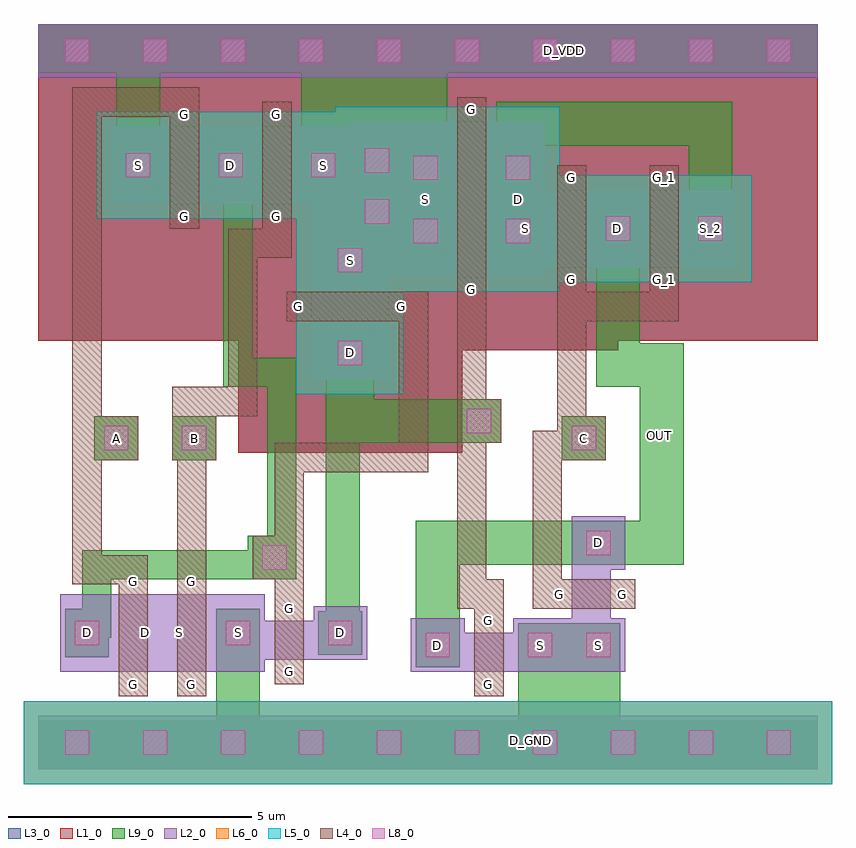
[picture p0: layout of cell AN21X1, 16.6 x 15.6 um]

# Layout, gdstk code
import gdstk
lib = gdstk.Library(unit=1e-6, precision=1e-09)
def R(c, l, rs):  # rectangles x0, y0, x1, y1
    for r in rs: c.add(gdstk.rectangle(r[:2], r[2:], *l))
def A(c, l, x, y, w, h, nx, ny, dx, dy):  # array of equal rectangles
    R(c, l, [(x+i*dx, y+j*dy, x+i*dx+w, y+j*dy+h) for i in range(nx) for j in range(ny)])
def P(c, l, *ps):  # polygons
    for p in ps: c.add(gdstk.Polygon(p, *l))
L1_0 = (1, 0)
L2_0 = (2, 0)
L3_0 = (3, 0)
L4_0 = (4, 0)
L5_0 = (5, 0)
L6_0 = (6, 0)
L8_0 = (8, 0)
L9_0 = (9, 0)

an21x1 = lib.new_cell('AN21X1')
A(an21x1, L1_0, 0, 8.8, 1.6, 6.5, 10, 1, 1.6, 0)
R(an21x1, L1_0, [(4.1,6.5,8.7,12.5), (5.9,8.6,11.9,14.8), (7.95,8.8,15.85,13.4), (0,10.1,6,14.7), (1.9,10.1,7.9,14.7)])
A(an21x1, L2_0, 0, 0, 1.6, 1.1, 10, 2, 1.6, 14.2)
A(an21x1, L2_0, 9.45, 10.3, 1.1, 1.6, 3, 1, 1.9, 0)
R(an21x1, L2_0, [(0.45,2,1.55,3.6), (1.55,2,2.35,3.6), (1.65,2,2.75,3.6), (2.35,2,3.45,3.6), (2.75,2,3.55,3.6), (3.55,2,4.65,3.6), (7.65,2,8.75,3.1), (8.75,2,9.75,2.8), (9.75,2,10.85,3.1), (10.85,2,10.95,3.1), (10.95,2,12.05,3.1), (3.55,2.25,4.65,3.35), (4.65,2.25,5.65,3.05), (5.65,2.25,6.75,3.35), (10.95,3.1,11.75,4.1), (10.95,4.1,12.05,5.2), (5.6,8,7.2,9.1), (5.6,9.1,7.2,9.9), (5.6,9.9,7.2,11), (7.4,10.1,8.5,13.3), (8.5,10.1,9.3,13.3), (9.3,10.1,10.4,13.3), (10.55,10.3,11.35,11.9), (12.45,10.3,13.25,11.9), (13.25,10.55,14.35,11.65), (1.5,11.6,2.6,13.2), (2.6,11.6,3.4,13.2), (3.4,11.6,4.5,13.2), (3.4,11.6,4.5,13.2), (4.5,11.6,5.3,13.2), (5.3,11.6,6.4,13.2)])
P(an21x1, L2_0, [(7.2,11),(7.2,10.1),(7.4,10.1),(7.4,13.3),(6.4,13.3),(6.4,11.7),(5.6,11.7),(5.6,11)])
A(an21x1, L3_0, 0, 8.8, 1.6, 6.5, 10, 1, 1.6, 0)
R(an21x1, L3_0, [(4.1,6.5,8.7,12.5), (5.9,8.6,11.9,14.8), (7.95,8.8,15.85,13.4), (0,10.1,6,14.7), (1.9,10.1,7.9,14.7)])
R(an21x1, L4_0, [(1.65,1.5,2.25,4.1), (1.65,1.5,2.25,2), (2.85,1.5,3.45,4.1), (2.85,1.5,3.45,2), (8.95,1.5,9.55,2), (8.95,1.5,9.55,3.3), (4.85,1.75,5.45,2.25), (4.85,1.75,5.45,3.55), (8.95,2.8,9.55,3.3), (4.85,3.05,5.45,3.55), (10.15,3.3,10.75,4.4), (10.45,3.3,10.95,3.9), (10.45,3.3,12.25,3.9), (11.75,3.3,12.25,3.9), (1.65,3.6,2.25,4.1), (2.85,3.6,3.45,4.1), (4.4,3.9,5.3,4.8), (2.85,4.1,3.45,6.35), (1.15,6.35,2.05,7.25), (2.75,6.35,3.65,7.25), (10.75,6.35,11.65,7.25), (8.6,6.7,9.5,7.6), (5.1,9.2,7.7,9.8), (5.1,9.2,5.6,9.8), (7.2,9.2,7.7,9.8), (10.65,9.2,13.15,9.8), (8.6,9.6,9.2,10.1), (8.6,9.6,9.2,13.8), (10.65,9.8,11.25,12.4), (10.65,9.8,11.25,10.3), (12.55,9.8,13.15,12.4), (12.55,9.8,13.15,10.3), (2.7,11.1,3.3,13.7), (2.7,11.1,3.3,11.6), (4.6,11.1,5.2,13.7), (4.6,11.1,5.2,11.6), (10.65,11.9,11.25,12.4), (12.55,11.9,13.15,12.4), (2.7,13.2,3.3,13.7), (4.6,13.2,5.2,13.7), (8.6,13.3,9.2,13.8)])
P(an21x1, L4_0, [(8.6,3.3),(9.55,3.3),(9.55,3.9),(9.2,3.9),(9.2,9.6),(8.6,9.6)],
  [(0.7,3.8),(2.25,3.8),(2.25,4.4),(1.3,4.4),(1.3,13.4),(3.3,13.4),(3.3,14),(0.7,14)],
  [(2.75,7.25),(4.5,7.25),(4.5,10.5),(5.2,10.5),(5.2,11.1),(3.9,11.1),(3.9,7.85),(2.75,7.85)],
  [(10.15,4.4),(10.75,4.4),(10.75,6.35),(11.25,6.35),(11.25,9.8),(10.65,9.8),(10.65,6.95),(10.15,6.95)],
  [(4.85,3.55),(5.45,3.55),(5.45,6.1),(8,6.1),(8,9.8),(7.4,9.8),(7.4,6.7),(4.85,6.7)])
A(an21x1, L5_0, 1.6, -0.3, 1.6, 1.7, 8, 1, 1.6, 0)
R(an21x1, L5_0, [(-0.3,-0.3,1.6,1.4), (14.4,-0.3,16.3,1.4), (5.3,7.7,7.5,11.3), (7.1,9.8,10.7,13.6), (9.15,10,14.65,12.2), (1.2,11.3,4.8,13.5), (3.1,11.3,6.7,13.5), (6.1,13.5,6.7,13.6)])
P(an21x1, L5_0, [(7.1,11.3),(7.1,13.6),(6.7,13.6),(6.7,11.4),(5.3,11.4),(5.3,11.3)])
A(an21x1, L6_0, 1.6, -0.3, 1.6, 1.7, 8, 1, 1.6, 0)
R(an21x1, L6_0, [(-0.3,-0.3,1.6,1.4), (14.4,-0.3,16.3,1.4), (5.3,7.7,7.5,11.3), (7.1,9.8,10.7,13.6), (9.15,10,14.65,12.2), (1.2,11.3,4.8,13.5), (3.1,11.3,6.7,13.5), (6.1,13.5,6.7,13.6)])
P(an21x1, L6_0, [(7.1,11.3),(7.1,13.6),(6.7,13.6),(6.7,11.4),(5.3,11.4),(5.3,11.3)])
A(an21x1, L8_0, 0.55, 0.3, 0.5, 0.5, 10, 2, 1.6, 14.2)
A(an21x1, L8_0, 1.8, 12.15, 0.5, 0.5, 3, 1, 1.9, 0)
R(an21x1, L8_0, [(7.95,2.3,8.45,2.8), (10.05,2.3,10.55,2.8), (11.25,2.3,11.75,2.8), (0.75,2.55,1.25,3.05), (3.85,2.55,4.35,3.05), (3.85,2.55,4.35,3.05), (5.95,2.55,6.45,3.05), (4.6,4.1,5.1,4.6), (11.25,4.4,11.75,4.9), (1.35,6.55,1.85,7.05), (2.95,6.55,3.45,7.05), (10.95,6.55,11.45,7.05), (8.8,6.9,9.3,7.4), (6.15,8.3,6.65,8.8), (6.15,10.2,6.65,10.7), (7.7,10.8,8.2,11.3), (9.6,10.8,10.1,11.3), (11.65,10.85,12.15,11.35), (13.55,10.85,14.05,11.35), (6.7,11.2,7.2,11.7), (7.7,12.1,8.2,12.6), (9.6,12.1,10.1,12.6), (6.7,12.25,7.2,12.75)])
A(an21x1, L9_0, 0, 0, 1.6, 1, 10, 2, 1.6, 14.3)
A(an21x1, L9_0, 1.6, 11.9, 0.9, 1, 3, 1, 1.9, 0)
R(an21x1, L9_0, [(0,0,13.2,1), (3.65,1,4.55,2.3), (9.85,1,11.95,2.1), (7.75,2.1,8.65,3), (9.85,2.1,10.75,3), (10.75,2.1,11.05,3), (11.05,2.1,11.95,3), (0.55,2.3,1.45,3.3), (3.65,2.3,4.55,3.3), (3.65,2.35,4.55,3.25), (5.75,2.35,6.65,3.25), (5.9,2.55,6.6,8.8), (4.3,3.9,4.55,4.8), (4.4,3.9,5.3,4.8), (11.05,4.2,11.95,5.1), (1.15,6.35,2.05,7.25), (1.15,6.35,2.05,7.25), (2.75,6.35,3.65,7.25), (2.75,6.35,3.65,7.25), (10.75,6.35,11.65,7.25), (10.75,6.35,11.65,7.25), (12.35,6.35,13.25,7.25), (8.6,6.7,9.5,7.6), (5.9,8.1,6.9,9), (5.9,10,6.9,10.9), (7.5,10.6,8.4,12.8), (9.4,10.6,10.3,12.8), (11.45,10.6,12.35,11.6), (13.35,10.65,14.25,11.55), (1.6,12.9,2.5,14.35), (5.4,12.9,8.4,14.35), (0,14.3,13.2,15.3)])
P(an21x1, L9_0, [(0.85,2.7),(1.5,2.7),(1.5,3.9),(4.55,3.9),(4.55,4.5),(0.9,4.5),(0.9,3.3),(0.85,3.3)],
  [(7.75,2.1),(8.65,2.1),(8.65,4.2),(11.95,4.2),(11.95,5.1),(7.75,5.1)],
  [(3.8,7.85),(4.7,7.85),(4.7,4.2),(5.3,4.2),(5.3,8.45),(4.4,8.45),(4.4,12.5),(3.8,12.5)],
  [(9.4,11.9),(10.3,11.9),(10.3,12.8),(13.35,12.8),(13.35,10.65),(14.25,10.65),(14.25,13.7),(9.4,13.7)],
  [(11.05,4.2),(13.25,4.2),(13.25,8.75),(12.35,8.75),(12.35,11.5),(11.45,11.5),(11.45,7.85),(12.35,7.85),(12.35,5.1),(11.05,5.1)],
  [(7.5,12.8),(8.4,12.8),(8.4,13),(6.3,13),(6.3,12),(5.9,12),(5.9,10.9),(6.9,10.9),(6.9,10.6),(7.5,10.6)],
  [(6,6.7),(9.5,6.7),(9.5,7.6),(6.9,7.6),(6.9,9),(6,9)])
an21x1.add(gdstk.Label('G', (10.95,10.052), layer=4, texttype=0))
an21x1.add(gdstk.Label('G', (10.95,12.152), layer=4, texttype=0))
an21x1.add(gdstk.Label('G_1', (12.85,10.052), layer=4, texttype=0))
an21x1.add(gdstk.Label('G_1', (12.85,12.152), layer=4, texttype=0))
an21x1.add(gdstk.Label('S', (9.999,11.101), layer=2, texttype=0))
an21x1.add(gdstk.Label('D', (11.899,11.101), layer=9, texttype=0))
an21x1.add(gdstk.Label('S_2', (13.799,11.1), layer=2, texttype=0))
an21x1.add(gdstk.Label('G', (9.25,1.752), layer=4, texttype=0))
an21x1.add(gdstk.Label('G', (9.25,3.052), layer=4, texttype=0))
an21x1.add(gdstk.Label('S', (10.301,2.551), layer=9, texttype=0))
an21x1.add(gdstk.Label('D', (8.201,2.551), layer=9, texttype=0))
an21x1.add(gdstk.Label('G', (5.352,9.5), layer=4, texttype=0))
an21x1.add(gdstk.Label('G', (7.452,9.5), layer=4, texttype=0))
an21x1.add(gdstk.Label('S', (6.401,10.451), layer=9, texttype=0))
an21x1.add(gdstk.Label('D', (6.401,8.551), layer=9, texttype=0))
an21x1.add(gdstk.Label('G', (10.702,3.6), layer=4, texttype=0))
an21x1.add(gdstk.Label('G', (12.002,3.6), layer=4, texttype=0))
an21x1.add(gdstk.Label('S', (11.501,2.549), layer=9, texttype=0))
an21x1.add(gdstk.Label('D', (11.501,4.649), layer=9, texttype=0))
an21x1.add(gdstk.Label('D', (2.201,2.801), layer=2, texttype=0))
an21x1.add(gdstk.Label('G', (3.15,1.752), layer=4, texttype=0))
an21x1.add(gdstk.Label('G', (3.15,3.852), layer=4, texttype=0))
an21x1.add(gdstk.Label('S', (4.101,2.801), layer=9, texttype=0))
an21x1.add(gdstk.Label('G', (1.95,1.752), layer=4, texttype=0))
an21x1.add(gdstk.Label('G', (1.95,3.852), layer=4, texttype=0))
an21x1.add(gdstk.Label('S', (2.901,2.801), layer=2, texttype=0))
an21x1.add(gdstk.Label('D', (1.001,2.801), layer=9, texttype=0))
an21x1.add(gdstk.Label('G', (5.15,2.002), layer=4, texttype=0))
an21x1.add(gdstk.Label('G', (5.15,3.302), layer=4, texttype=0))
an21x1.add(gdstk.Label('S', (4.099,2.801), layer=9, texttype=0))
an21x1.add(gdstk.Label('D', (6.199,2.801), layer=9, texttype=0))
an21x1.add(gdstk.Label('G', (4.9,11.352), layer=4, texttype=0))
an21x1.add(gdstk.Label('G', (4.9,13.452), layer=4, texttype=0))
an21x1.add(gdstk.Label('S', (5.851,12.401), layer=9, texttype=0))
an21x1.add(gdstk.Label('D', (3.951,12.401), layer=2, texttype=0))
an21x1.add(gdstk.Label('G', (3,11.352), layer=4, texttype=0))
an21x1.add(gdstk.Label('G', (3,13.452), layer=4, texttype=0))
an21x1.add(gdstk.Label('S', (2.049,12.401), layer=9, texttype=0))
an21x1.add(gdstk.Label('D', (3.949,12.401), layer=9, texttype=0))
an21x1.add(gdstk.Label('G', (8.9,9.852), layer=4, texttype=0))
an21x1.add(gdstk.Label('G', (8.9,13.552), layer=4, texttype=0))
an21x1.add(gdstk.Label('S', (7.949,11.701), layer=9, texttype=0))
an21x1.add(gdstk.Label('D', (9.849,11.701), layer=9, texttype=0))
an21x1.add(gdstk.Label('B', (3.2,6.8), layer=50, texttype=0))
an21x1.add(gdstk.Label('D_GND', (10.1,0.6), layer=50, texttype=0))
an21x1.add(gdstk.Label('D_VDD', (10.8,14.75), layer=50, texttype=0))
an21x1.add(gdstk.Label('A', (1.6,6.8), layer=50, texttype=0))
an21x1.add(gdstk.Label('C', (11.2,6.8), layer=50, texttype=0))
an21x1.add(gdstk.Label('OUT', (12.75,6.85), layer=50, texttype=0))

lib.write_gds('AN21X1.gds')
